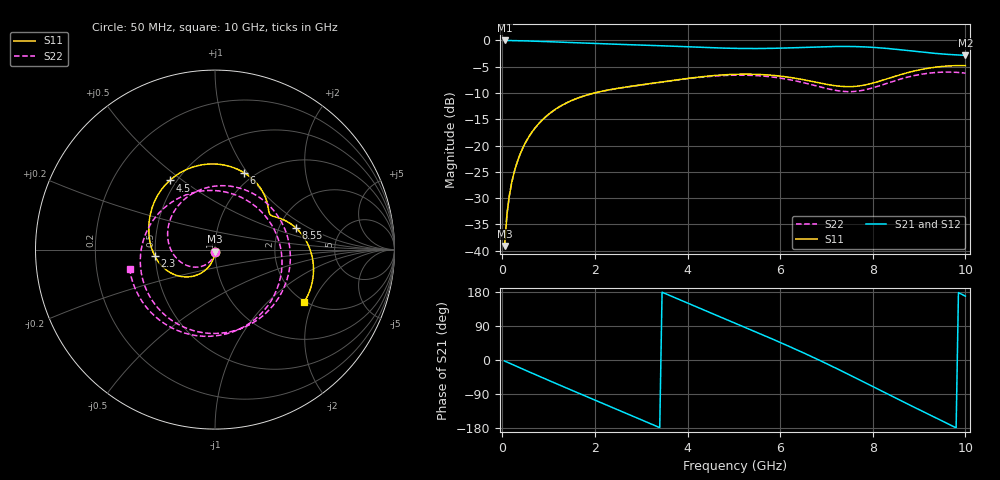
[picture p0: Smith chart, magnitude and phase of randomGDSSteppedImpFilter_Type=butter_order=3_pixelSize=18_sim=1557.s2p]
! freq	dB(S11)	phase(S11)	dB(S12)	phase(S12)
!  dB(S21)	phase(S21)	dB(S22)	phase(S22)
!S-par simulation data
#  GHz  S  DB  R 50
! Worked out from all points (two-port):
!   200 points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, 50 MHz to 10 GHz, reference 50 ohm
!   highest |S21| = 0.00 dB at 50 MHz (marker M1); lowest = -2.8 dB at 10 GHz (marker M2)
!   |S21| within 3 dB of the highest: start of sweep to end of sweep
!   lowest |S11| = -39.1 dB at 50 MHz (marker M3), VSWR 1.02, Z = 50 - j1.11 ohm
!   |S11| at or under -10 dB: start of sweep to 1.99 GHz
!   |S22| runs from -39.2 to -6.0 dB; largest |S21 - S12| = 0
!   S11 on the Smith chart (normalised r, x): 50 MHz: 1.00, -0.02; 2.3 GHz: 0.50, -0.04; 4.5 GHz: 0.46, +0.45; 6 GHz: 0.89, +0.97; 8.55 GHz: 2.46, +0.77; 10 GHz: 1.98, -1.72
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0.05  -39.11 -91.7  -0.00 -2.8  -0.00 -2.8  -39.15 -93.1
0.1  -33.13 -94.0  -0.01 -5.5  -0.01 -5.5  -33.15 -96.6
0.2  -27.18 -98.4  -0.03 -10.9  -0.03 -10.9  -27.20 -103.5
0.5  -19.46 -111.1  -0.09 -27.1  -0.09 -27.1  -19.48 -124.1
1.15  -13.08 -136.6  -0.29 -61.6  -0.29 -61.6  -13.10 -168.0
1.75  -10.60 -157.6  -0.51 -92.8  -0.51 -92.8  -10.61 150.4
2.3  -9.41 -174.4  -0.68 -121.3  -0.68 -121.3  -9.43 110.5
2.85  -8.63 170.6  -0.83 -149.8  -0.83 -149.8  -8.66 68.6
3.4  -7.95 156.1  -1.00 -178.5  -1.00 -178.5  -7.99 25.9
3.95  -7.28 140.6  -1.20 152.8  -1.20 152.8  -7.34 -15.5
4.5  -6.74 123.2  -1.39 124.3  -1.39 124.3  -6.84 -54.5
5.05  -6.44 104.0  -1.51 96.0  -1.51 96.0  -6.61 -91.4
5.5  -6.45 87.5  -1.54 72.7  -1.54 72.7  -6.70 -120.9
6  -6.79 69.2  -1.47 46.4  -1.47 46.4  -7.16 -154.7
6.7  -7.82 46.8  -1.27 7.8  -1.27 7.8  -8.47 150.9
7.1  -8.50 37.9  -1.17 -15.4  -1.17 -15.4  -9.34 112.9
7.5  -8.80 32.7  -1.15 -39.4  -1.15 -39.4  -9.75 69.1
7.95  -8.24 27.8  -1.29 -67.0  -1.29 -67.0  -9.15 18.1
8.35  -7.19 20.3  -1.56 -91.6  -1.56 -91.6  -8.03 -23.3
8.55  -6.64 15.2  -1.73 -103.8  -1.73 -103.8  -7.47 -42.2
9.25  -5.21 -6.6  -2.38 -145.8  -2.38 -145.8  -6.19 -102.1
10  -4.79 -30.4  -2.83 168.5  -2.83 168.5  -6.23 -166.9
